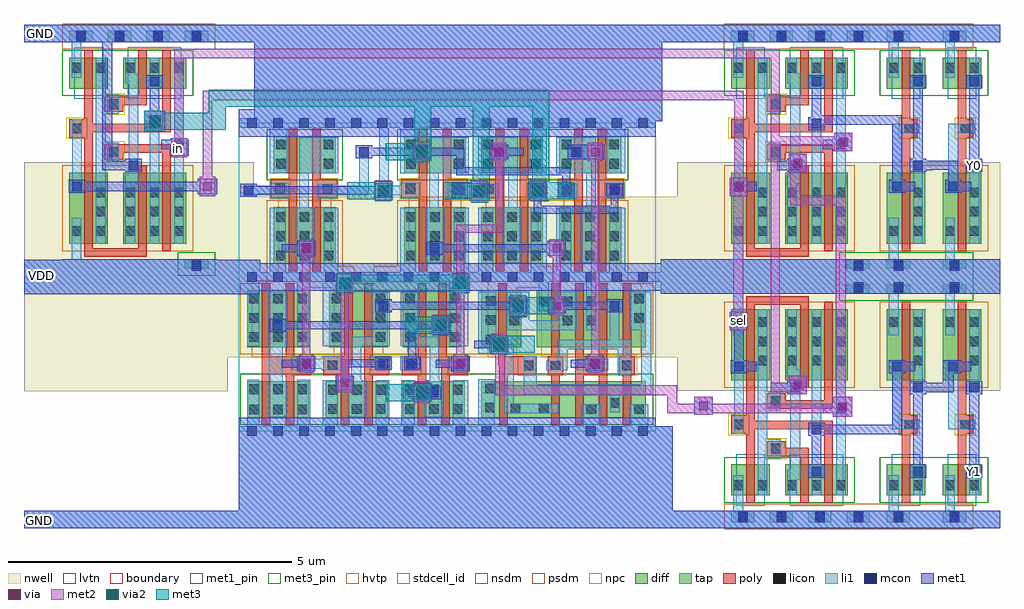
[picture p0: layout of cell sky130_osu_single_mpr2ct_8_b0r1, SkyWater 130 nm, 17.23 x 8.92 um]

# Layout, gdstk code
import gdstk
lib = gdstk.Library(unit=1e-6, precision=1e-09)
def R(c, l, rs):  # rectangles x0, y0, x1, y1
    for r in rs: c.add(gdstk.rectangle(r[:2], r[2:], *l))
def A(c, l, x, y, w, h, nx, ny, dx, dy):  # array of equal rectangles
    R(c, l, [(x+i*dx, y+j*dy, x+i*dx+w, y+j*dy+h) for i in range(nx) for j in range(ny)])
nwell = (64, 20)
diff = (65, 20)
tap = (65, 44)
poly = (66, 20)
licon = (66, 44)
li1 = (67, 20)
mcon = (67, 44)
met1_pin = (68, 16)
met1 = (68, 20)
via = (68, 44)
met2 = (69, 20)
via2 = (69, 44)
met3_pin = (70, 16)
met3 = (70, 20)
hvtp = (78, 44)
stdcell_id = (81, 4)
nsdm = (93, 44)
psdm = (94, 20)
npc = (95, 20)
lvtn = (125, 44)
boundary = (235, 4)

sky130_osu_sc_12t_hs__mu = lib.new_cell('sky130_osu_sc_12T_hs__mux2_1')
R(sky130_osu_sc_12t_hs__mu, nwell, [(-0.045,2.425,2.765,4.515)])
R(sky130_osu_sc_12t_hs__mu, diff, [(0.135,0.575,0.815,1.125), (1.085,0.575,2.195,1.125), (0.135,2.605,0.815,3.865), (1.085,2.605,2.195,3.865)])
A(sky130_osu_sc_12t_hs__mu, tap, 0.135, 0.105, 0.41, 0.2, 4, 1, 0.68, 0)
R(sky130_osu_sc_12t_hs__mu, tap, [(2.17,4.135,2.585,4.305)])
R(sky130_osu_sc_12t_hs__mu, poly, [(0.4,0.445,0.55,1.66), (1.35,0.445,1.5,1.265), (1.78,0.445,1.93,1.745), (0.76,1.265,1.5,1.415), (0.76,1.415,1.09,1.535), (0.135,1.66,0.55,1.745), (0.135,1.745,1.93,1.895), (0.135,1.895,0.55,1.99), (0.4,1.99,0.55,3.94), (0.76,2.105,1.93,2.255), (0.76,2.255,1.09,2.375), (1.78,2.255,1.93,3.995), (1.35,2.475,1.5,3.94), (0.4,3.94,1.5,4.09)])
A(sky130_osu_sc_12t_hs__mu, licon, 0.255, 0.135, 0.17, 0.17, 4, 1, 0.68, 0)
A(sky130_osu_sc_12t_hs__mu, licon, 1.125, 0.67, 0.17, 0.17, 3, 2, 0.43, 2.2)
A(sky130_osu_sc_12t_hs__mu, licon, 0.605, 2.87, 0.17, 0.17, 1, 3, 0, 0.34)
A(sky130_osu_sc_12t_hs__mu, licon, 1.125, 3.21, 0.17, 0.17, 3, 2, 0.43, 0.34)
R(sky130_osu_sc_12t_hs__mu, licon, [(0.175,0.67,0.345,0.84), (0.605,0.67,0.775,0.84), (0.84,1.315,1.01,1.485), (0.185,1.74,0.355,1.91), (0.84,2.155,1.01,2.325), (0.175,3.55,0.345,3.72), (2.295,4.135,2.465,4.305)])
R(sky130_osu_sc_12t_hs__mu, li1, [(0,0,2.75,0.305), (0.175,0.305,0.345,0.935), (0.605,0.575,0.775,1.235), (1.125,0.575,1.295,0.855), (1.555,0.575,1.725,1.085), (1.985,0.575,2.155,3.865), (1.125,0.855,1.35,1.025), (1.18,1.025,1.35,2.635), (0.605,1.235,1.01,1.565), (0.605,1.565,0.775,2.075), (1.555,1.655,1.725,3.865), (0.185,1.66,0.355,2.935), (0.605,2.075,1.01,2.405), (0.605,2.405,0.775,3.865), (1.125,2.635,1.35,2.805), (1.125,2.805,1.295,3.865), (0.175,3.405,0.345,4.135), (0,4.135,2.75,4.44)])
A(sky130_osu_sc_12t_hs__mu, mcon, 0.255, 0.105, 0.17, 0.17, 4, 1, 0.68, 0)
R(sky130_osu_sc_12t_hs__mu, mcon, [(1.555,0.915,1.725,1.085), (1.555,1.655,1.725,1.825), (1.985,2.025,2.155,2.195), (1.18,2.395,1.35,2.565), (0.185,2.765,0.355,2.935), (2.295,4.165,2.465,4.335)])
R(sky130_osu_sc_12t_hs__mu, met1, [(0,0,2.75,0.305), (1.495,0.885,1.785,1.115), (1.555,1.115,1.725,1.625), (1.495,1.625,1.785,1.855), (1.925,1.995,2.215,2.025), (1.755,2.025,2.215,2.195), (1.925,2.195,2.215,2.225), (1.12,2.365,1.41,2.395), (0.95,2.395,1.41,2.565), (1.12,2.565,1.41,2.595), (0.125,2.735,0.415,2.765), (0.125,2.765,0.585,2.935), (0.125,2.935,0.415,2.965), (0,4.135,2.75,4.44)])
R(sky130_osu_sc_12t_hs__mu, nsdm, [(0.01,0.45,2.32,1.25), (2.045,4.01,2.71,4.43)])
R(sky130_osu_sc_12t_hs__mu, psdm, [(0.01,-0.02,2.71,0.43), (0.01,2.48,2.32,3.99)])
R(sky130_osu_sc_12t_hs__mu, npc, [(0.74,1.215,1.11,1.585), (0.085,1.64,0.455,2.01), (0.74,2.055,1.11,2.425)])
R(sky130_osu_sc_12t_hs__mu, lvtn, [(0.22,0.395,0.73,1.305), (1.17,0.395,2.11,1.305)])
sky130_osu_sc_12t_hs__mu.add(gdstk.Label('S0', (0.27,2.85), layer=68, texttype=5))
sky130_osu_sc_12t_hs__mu.add(gdstk.Label('Y', (1.64,1.74), layer=68, texttype=5))
sky130_osu_sc_12t_hs__mu.add(gdstk.Label('A0', (1.265,2.48), layer=68, texttype=5))
sky130_osu_sc_12t_hs__mu.add(gdstk.Label('A1', (2.07,2.11), layer=68, texttype=5))
sky130_osu_sc_12t_hs__mu.add(gdstk.Label('VDD', (2.38,4.2), layer=68, texttype=5))
sky130_osu_sc_12t_hs__mu.add(gdstk.Label('GND ', (0.34,0.24), layer=68, texttype=5))

sky130_osu_sc_12t_hs__in = lib.new_cell('sky130_osu_sc_12T_hs__inv_1')
R(sky130_osu_sc_12t_hs__in, nwell, [(-0.05,2.425,0.995,4.515)])
R(sky130_osu_sc_12t_hs__in, diff, [(0.135,0.575,0.815,1.125), (0.135,2.605,0.815,3.865)])
R(sky130_osu_sc_12t_hs__in, tap, [(0.135,0.105,0.545,0.305), (0.13,4.135,0.55,4.305)])
R(sky130_osu_sc_12t_hs__in, poly, [(0.4,0.445,0.55,1.66), (0.4,1.66,0.67,1.99), (0.4,1.99,0.55,3.995)])
A(sky130_osu_sc_12t_hs__in, licon, 0.605, 2.87, 0.17, 0.17, 1, 3, 0, 0.34)
R(sky130_osu_sc_12t_hs__in, licon, [(0.255,0.135,0.425,0.305), (0.175,0.67,0.345,0.84), (0.605,0.67,0.775,0.84), (0.45,1.74,0.62,1.91), (0.175,3.55,0.345,3.72), (0.255,4.135,0.425,4.305)])
R(sky130_osu_sc_12t_hs__in, li1, [(0,0,0.99,0.305), (0.175,0.305,0.345,0.935), (0.605,0.575,0.775,1.085), (0.235,1.74,0.7,1.91), (0.235,1.91,0.405,2.935), (0.605,2.395,0.775,3.865), (0.175,3.405,0.345,4.135), (0,4.135,0.99,4.44)])
R(sky130_osu_sc_12t_hs__in, mcon, [(0.255,0.105,0.425,0.275), (0.605,0.915,0.775,1.085), (0.605,2.395,0.775,2.565), (0.235,2.765,0.405,2.935), (0.255,4.165,0.425,4.335)])
R(sky130_osu_sc_12t_hs__in, met1, [(0,0,0.99,0.305), (0.545,0.885,0.835,1.115), (0.605,1.115,0.775,2.365), (0.545,2.365,0.835,2.595), (0.175,2.735,0.465,2.765), (0.175,2.765,0.635,2.935), (0.175,2.935,0.465,2.965), (0,4.135,0.99,4.44)])
R(sky130_osu_sc_12t_hs__in, nsdm, [(0.01,0.45,0.94,1.25), (0.005,4.01,0.675,4.43)])
R(sky130_osu_sc_12t_hs__in, psdm, [(0.01,-0.02,0.67,0.43), (0.01,2.48,0.94,3.99)])
R(sky130_osu_sc_12t_hs__in, npc, [(0.35,1.64,0.72,2.01)])
R(sky130_osu_sc_12t_hs__in, lvtn, [(0.22,0.395,0.73,1.305)])
sky130_osu_sc_12t_hs__in.add(gdstk.Label('Y', (0.755,1.725), layer=68, texttype=5))
sky130_osu_sc_12t_hs__in.add(gdstk.Label('A', (0.32,2.85), layer=68, texttype=5))
sky130_osu_sc_12t_hs__in.add(gdstk.Label('VDD', (0.34,4.2), layer=68, texttype=5))
sky130_osu_sc_12t_hs__in.add(gdstk.Label('GND', (0.34,0.24), layer=68, texttype=5))

scs130hd_mpr2ct_8 = lib.new_cell('scs130hd_mpr2ct_8')
R(scs130hd_mpr2ct_8, nwell, [(-0.19,1.305,7.55,2.31), (-0.215,2.31,7.55,3.15), (-0.19,3.15,7.55,4.135)])
R(scs130hd_mpr2ct_8, diff, [(0.145,0.235,1.235,0.885), (1.535,0.235,2.625,0.885), (2.895,0.235,3.985,0.885), (4.275,0.235,7.185,0.885), (0.145,1.485,1.235,2.485), (1.595,1.485,2.625,2.485), (2.895,1.485,3.925,2.485), (4.275,1.485,4.985,2.485), (5.255,1.485,7.185,2.485), (0.615,2.955,1.705,3.955), (2.915,2.955,4.005,3.955), (4.275,2.955,5.365,3.955), (5.655,2.955,6.745,3.955), (0.615,4.555,1.705,5.205), (2.915,4.555,4.005,5.205), (4.275,4.555,5.365,5.205), (5.655,4.555,6.745,5.205)])
A(scs130hd_mpr2ct_8, poly, 5.515, 0.105, 0.15, 0.89, 4, 1, 0.42, 0)
A(scs130hd_mpr2ct_8, poly, 5.515, 1.325, 0.15, 1.29, 4, 1, 0.42, 0)
R(scs130hd_mpr2ct_8, poly, [(0.405,0.105,0.555,0.995), (0.825,0.105,0.975,0.995), (1.795,0.105,1.945,0.995), (2.215,0.105,2.365,0.995), (3.155,0.105,3.305,0.995), (3.575,0.105,3.725,0.995), (4.595,0.105,4.745,0.995), (0.405,0.995,1.275,1.325), (1.485,0.995,1.945,1.175), (2.215,0.995,2.65,1.325), (2.87,0.995,3.305,1.325), (3.575,0.995,4.035,1.175), (4.595,0.995,5.245,1.16), (5.455,0.995,5.725,1.325), (5.935,0.995,6.505,1.325), (6.715,0.995,6.985,1.325), (4.575,1.16,5.245,1.325), (1.485,1.175,2.005,1.325), (3.515,1.175,4.035,1.325), (0.405,1.325,0.555,2.615), (0.825,1.325,0.975,2.615), (1.855,1.325,2.005,2.615), (2.215,1.325,2.365,2.615), (3.155,1.325,3.305,2.615), (3.515,1.325,3.665,2.615), (4.575,1.325,4.725,2.615), (0.875,2.825,1.025,4.115), (1.295,2.825,1.445,4.115), (3.175,2.825,3.325,4.115), (3.595,2.825,3.745,4.115), (4.535,2.825,4.685,4.115), (4.955,2.825,5.105,4.115), (5.915,2.825,6.065,4.115), (6.335,2.825,6.485,4.115), (0.565,4.115,1.025,4.445), (1.295,4.115,1.735,4.445), (2.865,4.115,3.325,4.445), (3.595,4.115,4.035,4.445), (4.245,4.115,4.685,4.445), (4.955,4.115,5.415,4.445), (5.625,4.115,6.065,4.445), (6.335,4.115,6.795,4.445), (0.875,4.445,1.025,5.335), (1.295,4.445,1.445,5.335), (3.175,4.445,3.325,5.335), (3.595,4.445,3.745,5.335), (4.535,4.445,4.685,5.335), (4.955,4.445,5.105,5.335), (5.915,4.445,6.065,5.335), (6.335,4.445,6.485,5.335)])
A(scs130hd_mpr2ct_8, licon, 0.185, 0.295, 0.17, 0.17, 3, 2, 0.42, 0.36)
A(scs130hd_mpr2ct_8, licon, 1.575, 0.305, 0.17, 0.17, 3, 2, 0.42, 0.34)
A(scs130hd_mpr2ct_8, licon, 2.935, 0.305, 0.17, 0.17, 3, 2, 0.42, 0.34)
A(scs130hd_mpr2ct_8, licon, 4.355, 1.535, 0.17, 0.17, 1, 3, 0, 0.34)
A(scs130hd_mpr2ct_8, licon, 0.185, 1.575, 0.17, 0.17, 3, 3, 0.42, 0.34)
A(scs130hd_mpr2ct_8, licon, 1.635, 1.575, 0.17, 0.17, 1, 3, 0, 0.34)
A(scs130hd_mpr2ct_8, licon, 2.415, 1.575, 0.17, 0.17, 1, 3, 0, 0.34)
A(scs130hd_mpr2ct_8, licon, 2.935, 1.575, 0.17, 0.17, 1, 3, 0, 0.34)
A(scs130hd_mpr2ct_8, licon, 3.715, 1.575, 0.17, 0.17, 1, 3, 0, 0.34)
A(scs130hd_mpr2ct_8, licon, 5.295, 2.205, 0.17, 0.17, 3, 1, 0.42, 0)
A(scs130hd_mpr2ct_8, licon, 0.655, 3.015, 0.17, 0.17, 3, 3, 0.42, 0.34)
A(scs130hd_mpr2ct_8, licon, 2.955, 3.015, 0.17, 0.17, 3, 3, 0.42, 0.34)
A(scs130hd_mpr2ct_8, licon, 4.315, 3.015, 0.17, 0.17, 3, 3, 0.42, 0.34)
A(scs130hd_mpr2ct_8, licon, 5.695, 3.015, 0.17, 0.17, 3, 3, 0.42, 0.34)
R(scs130hd_mpr2ct_8, licon, [(6.135,0.305,6.305,0.475), (6.975,0.305,7.145,0.475), (4.795,0.315,4.965,0.485), (5.295,0.315,5.465,0.485), (4.345,0.33,4.515,0.5), (6.555,0.415,6.725,0.585), (4.345,0.67,4.515,0.84), (1.025,1.075,1.195,1.245), (1.565,1.075,1.735,1.245), (2.405,1.075,2.575,1.245), (2.945,1.075,3.115,1.245), (3.785,1.075,3.955,1.245), (5.025,1.075,5.195,1.245), (5.505,1.075,5.675,1.245), (6.18,1.075,6.35,1.245), (6.765,1.075,6.935,1.245), (4.775,1.865,4.945,2.035), (5.715,1.865,5.885,2.035), (6.135,1.865,6.305,2.035), (6.975,1.915,7.145,2.085), (4.775,2.205,4.945,2.375), (6.975,2.255,7.145,2.425), (0.64,4.195,0.81,4.365), (1.48,4.195,1.65,4.365), (2.94,4.195,3.11,4.365), (3.78,4.195,3.95,4.365), (4.33,4.195,4.5,4.365), (5.17,4.195,5.34,4.365), (5.71,4.195,5.88,4.365), (6.55,4.195,6.72,4.365), (0.655,4.635,0.825,4.805), (1.495,4.635,1.665,4.805), (2.955,4.635,3.125,4.805), (3.795,4.635,3.965,4.805), (4.315,4.635,4.485,4.805), (5.155,4.635,5.325,4.805), (5.695,4.635,5.865,4.805), (6.535,4.635,6.705,4.805), (0.655,4.975,0.825,5.145), (1.495,4.975,1.665,5.145), (2.955,4.975,3.125,5.145), (3.795,4.975,3.965,5.145), (4.315,4.975,4.485,5.145), (5.155,4.975,5.325,5.145), (5.695,4.975,5.865,5.145), (6.535,4.975,6.705,5.145)])
A(scs130hd_mpr2ct_8, li1, 0, -0.085, 7.36, 0.17, 1, 3, 0, 2.72)
R(scs130hd_mpr2ct_8, li1, [(0.145,0.085,0.355,0.905), (1.025,0.085,1.255,0.905), (1.475,0.085,1.745,0.895), (2.415,0.085,2.655,0.895), (2.865,0.085,3.105,0.895), (3.775,0.085,4.045,0.895), (4.225,0.085,4.515,0.92), (6.055,0.085,6.385,0.475), (6.895,0.085,7.225,0.475), (0.525,0.255,0.855,0.885), (1.915,0.255,2.245,0.895), (3.275,0.255,3.605,0.895), (4.685,0.315,5.64,0.485), (6.555,0.335,6.725,0.655), (4.685,0.485,4.855,1.365), (5.025,0.655,7.275,0.825), (5.025,0.825,5.255,1.325), (7.105,0.825,7.275,1.785), (0.525,0.885,0.775,1.485), (1.985,0.895,2.155,1.495), (3.365,0.895,3.535,1.495), (6.69,0.995,6.935,1.445), (0.945,1.075,1.275,1.105), (1.465,1.075,1.815,1.105), (2.325,1.075,2.675,1.325), (2.845,1.075,3.195,1.325), (3.705,1.075,4.055,1.325), (5.425,1.075,5.8,1.245), (5.97,1.075,6.52,1.275), (0.945,1.105,1.815,1.275), (5.63,1.245,5.8,1.445), (0.945,1.275,1.275,1.325), (1.465,1.275,1.815,1.325), (4.225,1.365,4.855,1.535), (5.63,1.445,6.935,1.615), (0.525,1.485,0.855,2.465), (0.145,1.495,0.355,2.635), (1.025,1.495,1.255,2.635), (1.475,1.495,1.805,2.635), (1.985,1.495,2.665,1.665), (2.855,1.495,3.535,1.665), (3.715,1.495,4.045,2.635), (4.225,1.535,4.675,1.615), (4.225,1.615,4.545,2.465), (6.545,1.615,6.715,2.295), (2.335,1.665,2.665,2.45), (2.855,1.665,3.185,2.45), (4.725,1.785,5.965,1.955), (6.135,1.785,6.305,2.635), (6.895,1.785,7.275,2.465), (4.725,1.955,5.125,2.465), (5.635,1.955,5.965,2.465), (5.295,2.125,5.465,2.635), (0.545,2.805,0.825,3.945), (1.495,2.805,1.755,3.945), (2.845,2.805,3.125,3.945), (3.795,2.805,4.055,3.945), (4.225,2.805,4.485,3.945), (5.155,2.805,5.435,3.945), (5.605,2.805,5.865,3.945), (6.535,2.805,6.815,3.945), (0.995,2.975,1.325,3.955), (3.295,2.975,3.625,3.955), (4.655,2.975,4.985,3.955), (6.035,2.975,6.365,3.955), (1.06,3.955,1.23,4.555), (3.36,3.955,3.53,4.555), (4.75,3.955,4.92,4.555), (6.13,3.955,6.3,4.555), (0.555,4.115,0.89,4.165), (1.4,4.115,1.735,4.165), (2.855,4.115,3.19,4.165), (3.7,4.115,4.035,4.165), (4.245,4.115,4.58,4.165), (5.09,4.115,5.425,4.385), (5.625,4.115,5.96,4.365), (6.47,4.115,6.805,4.385), (0.085,4.165,0.89,4.335), (1.4,4.165,2.295,4.335), (2.465,4.165,3.19,4.335), (3.7,4.165,4.58,4.335), (0.555,4.335,0.89,4.385), (1.4,4.335,1.735,4.365), (2.125,4.335,2.295,5.015), (2.855,4.335,3.19,4.385), (3.7,4.335,4.035,4.365), (4.245,4.335,4.58,4.365), (0.545,4.555,0.855,5.355), (1.06,4.555,1.755,5.185), (2.845,4.555,3.155,5.355), (3.36,4.555,4.055,5.185), (4.225,4.555,4.92,5.185), (5.125,4.555,5.435,5.355), (5.605,4.555,6.3,5.185), (6.505,4.555,6.815,5.355)])
A(scs130hd_mpr2ct_8, mcon, 0.145, -0.085, 0.17, 0.17, 16, 3, 0.46, 2.72)
R(scs130hd_mpr2ct_8, mcon, [(3.345,0.595,3.515,0.765), (1.105,1.105,1.275,1.275), (3.825,1.105,3.995,1.275), (6.205,1.105,6.375,1.275), (2.465,1.11,2.635,1.28), (2.975,1.11,3.145,1.28), (4.505,1.445,4.675,1.615), (0.595,1.785,0.765,1.955), (2.465,2.125,2.635,2.295), (6.545,2.125,6.715,2.295), (1.105,3.145,1.275,3.315), (3.365,3.145,3.535,3.315), (0.085,4.165,0.255,4.335), (2.465,4.165,2.635,4.335), (3.815,4.165,3.985,4.335), (5.185,4.165,5.355,4.335), (5.695,4.165,5.865,4.335), (6.545,4.165,6.715,4.335), (2.125,4.845,2.295,5.015), (4.505,4.845,4.675,5.015), (5.865,4.845,6.035,5.015)])
A(scs130hd_mpr2ct_8, met1, 0, -0.24, 7.36, 0.48, 1, 3, 0, 2.72)
R(scs130hd_mpr2ct_8, met1, [(3.07,0.55,3.39,0.565), (3.07,0.565,3.575,0.61), (2.98,0.61,3.575,0.75), (1.71,0.72,2.03,0.98), (3.07,0.75,3.575,0.795), (3.07,0.795,3.39,0.81), (1.8,0.98,1.94,1.125), (1.03,1.06,1.35,1.12), (3.75,1.06,4.07,1.12), (6.13,1.06,6.45,1.12), (2.405,1.08,2.695,1.125), (2.915,1.08,3.205,1.31), (0.755,1.12,1.35,1.26), (3.475,1.12,4.07,1.26), (5.855,1.12,6.45,1.26), (1.8,1.125,2.695,1.265), (1.03,1.26,1.35,1.32), (3.75,1.26,4.07,1.32), (6.13,1.26,6.45,1.32), (2.405,1.265,2.695,1.31), (2.99,1.31,3.13,1.8), (4.43,1.4,4.75,1.46), (4.155,1.46,4.75,1.6), (4.43,1.6,4.75,1.66), (3.41,1.74,3.73,1.8), (0.535,1.755,0.825,1.8), (0.535,1.8,3.73,1.94), (0.535,1.94,0.825,1.985), (3.41,1.94,3.73,2), (4.77,2.08,5.09,2.14), (5.45,2.08,5.77,2.14), (2.405,2.095,2.695,2.14), (6.485,2.095,6.775,2.14), (2.405,2.14,5.09,2.28), (5.45,2.14,6.775,2.28), (2.405,2.28,2.695,2.325), (4.77,2.28,5.09,2.34), (5.45,2.28,5.77,2.34), (6.485,2.28,6.775,2.325), (1.03,3.1,1.35,3.16), (5.45,3.1,5.77,3.16), (3.305,3.115,3.595,3.16), (0.755,3.16,1.35,3.3), (3.305,3.16,5.77,3.3), (1.03,3.3,1.35,3.36), (3.305,3.3,3.595,3.345), (5.45,3.3,5.77,3.36), (5.2,3.84,6.7,3.98), (5.2,3.98,5.34,4.12), (6.56,3.98,6.7,4.135), (2.39,4.12,2.71,4.18), (3.755,4.12,4.4,4.38), (5.11,4.12,5.43,4.38), (0.025,4.135,0.315,4.18), (5.635,4.135,5.925,4.365), (6.485,4.135,6.775,4.365), (0.025,4.18,2.71,4.32), (0.025,4.32,0.315,4.365), (2.39,4.32,2.71,4.38), (5.71,4.365,5.85,4.52), (3.84,4.52,5.85,4.66), (3.84,4.66,3.98,4.86), (3.07,4.8,3.39,4.86), (4.43,4.8,4.75,4.86), (5.805,4.8,6.45,5.06), (2.065,4.815,2.355,4.86), (2.065,4.86,3.98,5), (4.43,4.86,5.025,5), (2.065,5,2.355,5.045), (3.07,5,3.39,5.06), (4.43,5,4.75,5.06)])
R(scs130hd_mpr2ct_8, via, [(3.155,0.605,3.305,0.755), (1.795,0.775,1.945,0.925), (1.115,1.115,1.265,1.265), (3.835,1.115,3.985,1.265), (6.215,1.115,6.365,1.265), (4.515,1.455,4.665,1.605), (3.495,1.795,3.645,1.945), (4.855,2.135,5.005,2.285), (5.535,2.135,5.685,2.285), (1.115,3.155,1.265,3.305), (5.535,3.155,5.685,3.305), (2.475,4.175,2.625,4.325), (4.165,4.175,4.315,4.325), (5.195,4.175,5.345,4.325), (3.155,4.855,3.305,5.005), (4.515,4.855,4.665,5.005), (6.215,4.855,6.365,5.005)])
R(scs130hd_mpr2ct_8, met2, [(3.09,0.495,3.37,0.865), (1.74,0.69,2,1.01), (1.8,1.01,1.94,2.425), (1.06,1.03,1.32,1.35), (3.78,1.03,4.04,1.35), (6.16,1.03,6.42,1.35), (4.45,1.345,4.73,1.715), (1.12,1.35,1.26,3.07), (3.84,1.35,3.98,2.425), (6.22,1.35,6.36,4.77), (3.42,1.685,3.7,2.055), (4.79,2.025,5.07,2.395), (5.48,2.05,5.74,2.37), (5.54,2.37,5.68,3.07), (1.73,2.425,2.01,2.795), (3.77,2.425,4.05,2.795), (3.84,2.795,3.98,3.5), (1.06,3.07,1.32,3.39), (5.48,3.07,5.74,3.39), (3.84,3.5,4.66,3.64), (4.52,3.64,4.66,4.77), (2.41,4.06,2.69,4.43), (4.1,4.06,4.38,4.43), (5.14,4.06,5.42,4.43), (3.09,4.75,3.37,5.12), (4.46,4.77,4.72,5.09), (6.16,4.77,6.42,5.09)])
R(scs130hd_mpr2ct_8, via2, [(3.13,0.58,3.33,0.78), (4.49,1.43,4.69,1.63), (3.46,1.77,3.66,1.97), (4.83,2.11,5.03,2.31), (1.77,2.51,1.97,2.71), (3.81,2.51,4.01,2.71), (2.45,4.145,2.65,4.345), (4.14,4.145,4.34,4.345), (5.18,4.145,5.38,4.345), (3.13,4.835,3.33,5.035)])
R(scs130hd_mpr2ct_8, met3_pin, [(3.065,0.515,3.395,0.845), (4.425,1.365,4.755,1.695), (3.395,1.705,3.725,2.035), (4.765,2.045,5.095,2.375), (2.385,4.08,2.715,4.41), (4.075,4.08,4.405,4.41), (5.115,4.08,5.445,4.41), (3.065,4.77,3.395,5.1)])
R(scs130hd_mpr2ct_8, met3, [(3.065,0.515,3.395,0.525), (3.055,0.525,3.395,0.53), (2.595,0.53,3.395,0.83), (3.065,0.83,3.395,0.845), (4.51,1.355,4.81,1.365), (4.425,1.365,4.81,1.38), (4.425,1.38,5.225,1.68), (4.425,1.68,4.755,1.695), (3.395,1.705,3.725,1.72), (2.935,1.72,3.735,2.02), (4.78,2.015,5.08,2.045), (3.395,2.02,3.725,2.035), (4.765,2.045,5.095,2.06), (4.765,2.06,5.565,2.36), (4.765,2.36,5.095,2.375), (1.705,2.445,2.035,2.46), (3.745,2.445,4.075,2.46), (1.705,2.46,4.075,2.76), (1.705,2.76,2.035,2.775), (3.745,2.76,4.075,2.775), (4.1,4.035,4.4,4.08), (5.17,4.055,5.47,4.08), (2.385,4.08,2.715,4.095), (4.075,4.08,4.405,4.095), (5.115,4.08,5.47,4.095), (1.915,4.095,2.715,4.395), (3.605,4.095,4.405,4.395), (5.115,4.095,5.915,4.395), (2.385,4.395,2.715,4.41), (4.075,4.395,4.405,4.41), (5.115,4.395,5.445,4.41), (2.975,4.745,3.275,4.77), (2.975,4.77,3.395,4.785), (2.595,4.785,3.395,5.085), (3.065,5.085,3.395,5.1)])
R(scs130hd_mpr2ct_8, hvtp, [(0.225,1.305,1.155,2.53), (1.675,1.305,2.545,2.53), (2.975,1.305,3.845,2.665), (4.395,1.305,4.905,2.53), (5.335,1.305,7.105,2.53), (0.225,2.53,2.545,2.665), (4.395,2.53,7.105,2.665), (0.695,2.665,2.035,2.91), (2.995,2.665,3.845,2.775), (4.395,2.665,6.665,2.775), (2.995,2.775,3.925,4.135), (4.355,2.775,6.665,2.91), (0.695,2.91,1.625,4.135), (4.355,2.91,5.285,4.135), (5.735,2.91,6.665,4.135)])
R(scs130hd_mpr2ct_8, stdcell_id, [(0,0,7.36,5.44)])
R(scs130hd_mpr2ct_8, nsdm, [(0.02,0.11,7.31,1.01), (0.49,4.43,1.83,5.33), (2.79,4.43,6.87,5.33)])
R(scs130hd_mpr2ct_8, psdm, [(0.02,1.36,7.31,2.61), (0.49,2.61,1.84,2.92), (2.375,2.61,6.87,2.91), (2.79,2.91,6.87,4.08), (0.49,2.92,1.83,4.08)])
R(scs130hd_mpr2ct_8, npc, [(0.925,0.975,1.835,1.345), (2.305,0.975,3.215,1.345), (3.685,0.975,4.055,1.345), (4.925,0.975,5.775,1.345), (6.08,0.975,7.035,1.345), (0.54,4.095,0.91,4.465), (1.38,4.095,1.75,4.465), (2.84,4.095,3.21,4.465), (3.68,4.095,4.6,4.465), (5.07,4.095,5.98,4.465), (6.45,4.095,6.82,4.465)])
R(scs130hd_mpr2ct_8, boundary, [(0,0,7.36,5.44)])
scs130hd_mpr2ct_8.add(gdstk.Label('A1', (4.24,4.245), layer=70, texttype=5))
scs130hd_mpr2ct_8.add(gdstk.Label('A0', (3.23,4.935), layer=70, texttype=5))
scs130hd_mpr2ct_8.add(gdstk.Label('B0', (2.55,4.245), layer=70, texttype=5))
scs130hd_mpr2ct_8.add(gdstk.Label('B1', (5.28,4.245), layer=70, texttype=5))
scs130hd_mpr2ct_8.add(gdstk.Label('R0', (3.56,1.87), layer=70, texttype=5))
scs130hd_mpr2ct_8.add(gdstk.Label('R1', (4.59,1.53), layer=70, texttype=5))
scs130hd_mpr2ct_8.add(gdstk.Label('R2', (3.23,0.68), layer=70, texttype=5))
scs130hd_mpr2ct_8.add(gdstk.Label('R3', (4.93,2.21), layer=70, texttype=5))
scs130hd_mpr2ct_8.add(gdstk.Label('VNB', (0.23,5.435), layer=64, texttype=59))
scs130hd_mpr2ct_8.add(gdstk.Label('VNB', (0.41,-0.005), layer=64, texttype=59))
scs130hd_mpr2ct_8.add(gdstk.Label('vgnd', (0.69,5.445), layer=68, texttype=5))
scs130hd_mpr2ct_8.add(gdstk.Label('vgnd', (0.68,0), layer=68, texttype=5))
scs130hd_mpr2ct_8.add(gdstk.Label('VPB', (0.46,2.71), layer=64, texttype=5))
scs130hd_mpr2ct_8.add(gdstk.Label('vpwr', (0.695,2.725), layer=68, texttype=5))

sky130_osu_single_mpr2ct = lib.new_cell('sky130_osu_single_mpr2ct_8_b0r1')
R(sky130_osu_single_mpr2ct, nwell, [(-10.795,2.415,-7.2,3.015), (0.74,2.425,1.555,3.015), (6.21,2.425,6.435,6.455), (5.465,2.565,5.615,2.74), (-10.795,3.015,-6.625,4.125), (0.445,3.015,1.555,3.815), (-1.365,3.815,1.555,3.98), (0.445,3.98,1.555,4.135), (-10.795,4.125,-6.645,4.345), (0.445,4.135,1.605,4.19), (-6.575,4.19,-6.37,4.345), (0.36,4.19,1.605,4.345), (-10.795,4.345,-6.36,4.515), (0.35,4.345,1.605,4.515), (-10.795,4.515,-6.625,5.845), (-6.565,4.515,-6.37,4.67), (0.36,4.515,1.605,4.67), (0.45,4.67,1.605,4.745), (0.545,4.745,1.555,5.845), (-10.795,5.845,-6.74,6.455), (0.74,5.845,1.555,5.94), (0.74,5.94,1.53,6.455), (1.74,5.94,1.9,6.12)])
R(sky130_osu_single_mpr2ct, diff, [(5.895,0.915,6.065,1.085)])
R(sky130_osu_single_mpr2ct, tap, [(1.68,8.575,1.74,8.745), (2.37,8.575,2.745,8.745)])
R(sky130_osu_single_mpr2ct, li1, [(-10.79,0,1.81,0.305), (6.255,0,6.435,0.305), (-7.005,0.305,0.655,1.635), (5.895,0.915,6.065,1.085), (-6.13,1.635,0.655,1.655), (0.35,1.655,0.655,1.795), (-10.79,4.13,-6.645,4.345), (0.445,4.135,1.605,4.345), (6.255,4.135,6.435,4.745), (-10.79,4.345,-6.36,4.515), (0.35,4.345,1.605,4.515), (-10.79,4.515,-6.625,4.74), (0.45,4.515,1.605,4.745), (1.73,5.94,1.91,6.18), (-4.525,6.03,-4.355,7.105), (5.895,6.315,6.065,6.485), (-6.73,7.18,0.47,8.575), (-10.79,8.575,1.81,8.88), (2.37,8.575,2.745,8.745), (6.255,8.575,6.435,8.88)])
R(sky130_osu_single_mpr2ct, mcon, [(5.895,0.915,6.065,1.085), (5.895,6.315,6.065,6.485)])
R(sky130_osu_single_mpr2ct, met1_pin, [(5.895,0.915,6.065,1.085), (5.895,6.315,6.065,6.485)])
R(sky130_osu_single_mpr2ct, met1, [(-10.79,0,1.81,0.305), (6.255,0,6.435,0.305), (-7.005,0.305,0.655,1.635), (5.895,0.915,6.065,1.085), (-6.13,1.635,0.655,1.655), (0.35,1.655,0.655,1.795), (3.11,1.655,4.7,1.82), (3.11,1.82,3.28,1.825), (3.34,1.82,4.7,1.825), (4.535,1.825,4.7,2.735), (3.48,1.965,3.83,2.315), (1.035,1.995,1.36,2.32), (2.705,2.365,3.025,2.395), (2.39,2.395,3.025,2.565), (5.07,2.395,5.615,2.565), (2.705,2.565,3.025,2.685), (5.425,2.565,5.615,2.74), (4.535,2.735,4.71,2.75), (5.425,2.74,5.53,2.965), (4.54,2.75,4.71,2.765), (4.535,2.765,4.71,2.8), (4.535,2.8,4.705,2.935), (1.74,2.93,1.91,3.495), (1.66,3.495,1.985,3.82), (-10.79,4.13,-6.645,4.345), (0.445,4.135,1.605,4.19), (6.255,4.135,6.435,4.745), (-6.575,4.19,-6.37,4.345), (0.36,4.19,1.605,4.345), (-10.79,4.345,-6.36,4.515), (0.35,4.345,1.605,4.515), (-10.79,4.515,-6.625,4.65), (-6.565,4.515,-6.37,4.67), (0.36,4.515,1.605,4.67), (-10.79,4.65,-8.23,4.74), (-7.925,4.65,-6.625,4.74), (0.45,4.67,1.605,4.745), (1.66,5.855,1.985,6.18), (-7.725,5.89,-7.385,5.945), (4.53,5.94,4.7,7.12), (-9.765,5.945,-7.385,6.115), (5.535,5.945,5.695,6.145), (-7.725,6.115,-7.385,6.17), (5.525,6.145,5.695,6.325), (2.705,6.28,3.025,6.605), (-9.41,6.315,-9.01,6.485), (5.895,6.315,6.065,6.485), (5.075,6.32,5.235,6.325), (5.075,6.325,5.695,6.485), (-9.41,6.485,-9.24,8.575), (-8.225,6.575,-7.885,6.855), (3.505,6.655,3.83,6.98), (-8.67,6.995,-8.3,7.37), (3.11,7.055,3.34,7.12), (3.11,7.12,4.7,7.225), (-6.73,7.18,0.47,8.575), (3.34,7.225,4.7,7.255), (3.28,7.255,4.7,7.29), (-10.79,8.575,1.81,8.88), (2.37,8.575,2.745,8.745), (6.255,8.575,6.435,8.88)])
R(sky130_osu_single_mpr2ct, via, [(3.58,2.065,3.73,2.215), (1.125,2.08,1.275,2.23), (2.79,2.45,2.94,2.6), (1.75,3.58,1.9,3.73), (1.75,5.94,1.9,6.09), (-7.63,5.955,-7.48,6.105), (2.79,6.37,2.94,6.52), (-8.13,6.64,-7.98,6.79), (3.595,6.74,3.745,6.89), (-8.56,7.11,-8.41,7.26)])
R(sky130_osu_single_mpr2ct, met2, [(3.48,1.965,3.83,2.025), (1.035,1.995,1.36,2.025), (0.565,2.025,3.83,2.195), (0.565,2.195,0.74,2.345), (1.035,2.195,1.36,2.32), (3.48,2.195,3.83,2.315), (3.535,2.315,3.71,5.695), (-2.48,2.345,0.74,2.52), (2.705,2.365,3.025,2.395), (2.39,2.395,3.025,2.565), (-2.48,2.52,-2.305,3.18), (2.39,2.565,2.55,6.745), (2.705,2.565,3.025,2.685), (1.66,3.495,1.985,3.82), (1.73,3.82,1.9,5.855), (2.735,5.695,3.71,5.87), (1.66,5.855,1.985,6.18), (-7.695,5.86,-7.415,6.2), (2.735,5.87,2.91,6.045), (2.735,6.045,2.905,6.28), (1.74,6.18,1.91,7.55), (-7.64,6.2,-7.47,7.55), (2.705,6.28,3.025,6.605), (-8.195,6.545,-7.915,6.885), (3.505,6.655,3.83,6.745), (2.39,6.745,3.83,6.915), (-8.145,6.885,-7.975,8.29), (2.39,6.915,2.55,8.29), (3.505,6.915,3.83,6.98), (-8.67,7,-8.3,7.37), (-7.64,7.55,1.91,7.72), (-8.145,8.29,2.55,8.46)])
R(sky130_osu_single_mpr2ct, via2, [(-8.585,7.085,-8.385,7.285)])
R(sky130_osu_single_mpr2ct, met3, [(-2.915,5.785,-2.575,6.135), (-1.895,5.805,-1.52,6.17), (-2.875,6.135,-2.575,7.435), (-1.82,6.17,-1.52,7.435), (-3.905,6.49,-3.605,7.435), (-8.67,7,-8.3,7.035), (-8.67,7.035,-7.235,7.335), (-8.67,7.335,-8.3,7.37), (-7.535,7.335,-7.235,7.435), (-7.535,7.435,-1.52,7.735)])
R(sky130_osu_single_mpr2ct, nsdm, [(5.24,0.45,5.3,1.25), (5.77,0.79,6.19,1.21), (4.265,4.01,4.305,4.43), (4.975,4.01,5.295,4.43), (3.6,4.43,5.965,4.45), (4.265,4.45,4.305,4.87), (4.975,4.45,5.295,4.87), (5.24,7.63,5.3,8.43)])
R(sky130_osu_single_mpr2ct, psdm, [(4.265,-0.02,4.31,0.43), (4.97,-0.02,5.3,0.43), (5.24,2.48,5.3,3.99), (5.24,4.89,5.3,6.4), (1.555,8.45,1.865,8.87), (2.245,8.45,2.87,8.87), (4.265,8.45,4.31,8.9), (4.97,8.45,5.3,8.9)])
sky130_osu_single_mpr2ct.add(gdstk.Reference(sky130_osu_sc_12t_hs__mu, (1.555,8.88), x_reflection=True))
sky130_osu_single_mpr2ct.add(gdstk.Reference(sky130_osu_sc_12t_hs__mu, (-10.13,8.88), x_reflection=True))
sky130_osu_single_mpr2ct.add(gdstk.Reference(sky130_osu_sc_12t_hs__mu, (1.555,0)))
sky130_osu_single_mpr2ct.add(gdstk.Reference(sky130_osu_sc_12t_hs__in, (4.3,8.88), x_reflection=True))
sky130_osu_single_mpr2ct.add(gdstk.Reference(sky130_osu_sc_12t_hs__in, (5.29,8.88), x_reflection=True))
sky130_osu_single_mpr2ct.add(gdstk.Reference(sky130_osu_sc_12t_hs__in, (5.29,0)))
sky130_osu_single_mpr2ct.add(gdstk.Reference(sky130_osu_sc_12t_hs__in, (4.3,0)))
sky130_osu_single_mpr2ct.add(gdstk.Reference(scs130hd_mpr2ct_8, (-7,1.71)))
sky130_osu_single_mpr2ct.add(gdstk.Label('GND', (-10.53,0.13), layer=68, texttype=5))
sky130_osu_single_mpr2ct.add(gdstk.Label('GND', (-10.51,8.73), layer=68, texttype=5))
sky130_osu_single_mpr2ct.add(gdstk.Label('VDD', (-10.485,4.45), layer=68, texttype=5))
sky130_osu_single_mpr2ct.add(gdstk.Label('sel', (1.82,3.665), layer=69, texttype=5))
sky130_osu_single_mpr2ct.add(gdstk.Label('Y0', (5.98,6.4), layer=68, texttype=5))
sky130_osu_single_mpr2ct.add(gdstk.Label('Y1', (5.98,1), layer=68, texttype=5))
sky130_osu_single_mpr2ct.add(gdstk.Label('in', (-8.06,6.695), layer=69, texttype=5))

lib.write_gds('sky130_osu_single_mpr2ct_8_b0r1.gds')
